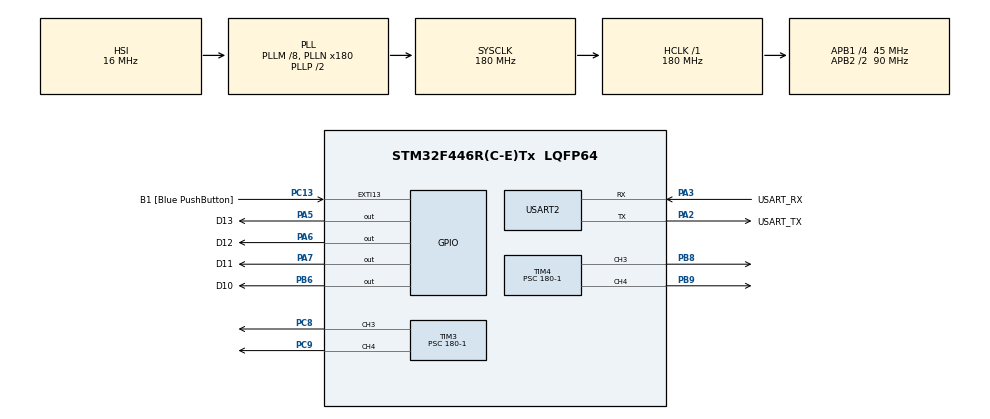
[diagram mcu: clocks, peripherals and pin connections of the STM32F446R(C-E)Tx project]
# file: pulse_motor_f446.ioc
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Mcu.Family=STM32F4
Mcu.Name=STM32F446R(C-E)Tx
Mcu.Package=LQFP64
NVIC.PriorityGroup=NVIC_PRIORITYGROUP_0
PA13.GPIO_Label=TMS
PA13.Mode=Serial_Wire
PA13.Signal=SYS_JTMS-SWDIO
PA14.GPIO_Label=TCK
PA14.Mode=Serial_Wire
PA14.Signal=SYS_JTCK-SWCLK
PA2.GPIO_Label=USART_TX
PA2.Mode=Asynchronous
PA2.Signal=USART2_TX
PA3.GPIO_Label=USART_RX
PA3.Mode=Asynchronous
PA3.Signal=USART2_RX
PA5.GPIO_Label=D13
PA5.Signal=GPIO_Output
PA6.GPIO_Label=D12
PA6.Signal=GPIO_Output
PA7.GPIO_Label=D11
PA7.Signal=GPIO_Output
PB3.GPIO_Label=SWO
PB3.Signal=SYS_JTDO-SWO
PB6.GPIO_Label=D10
PB6.Signal=GPIO_Output
PB8.Signal=S_TIM4_CH3
PB9.Signal=S_TIM4_CH4
PC13.GPIO_Label=B1 [Blue PushButton]
PC13.GPIO_ModeDefaultEXTI=GPIO_MODE_IT_FALLING
PC13.Signal=GPXTI13
PC14-OSC32_IN.Mode=LSE-External-Oscillator
PC14-OSC32_IN.Signal=RCC_OSC32_IN
PC15-OSC32_OUT.Mode=LSE-External-Oscillator
PC15-OSC32_OUT.Signal=RCC_OSC32_OUT
PC8.Signal=S_TIM3_CH3
PC9.Signal=S_TIM3_CH4
PH0-OSC_IN.Mode=HSE-External-Oscillator
PH0-OSC_IN.Signal=RCC_OSC_IN
PH1-OSC_OUT.Mode=HSE-External-Oscillator
PH1-OSC_OUT.Signal=RCC_OSC_OUT
ProjectManager.HeapSize=0x200
ProjectManager.StackSize=0x400
ProjectManager.TargetToolchain=TrueSTUDIO
RCC.48MHZClocksFreq_Value=84000000
RCC.AHBFreq_Value=180000000
RCC.APB1CLKDivider=RCC_HCLK_DIV4
RCC.APB1Freq_Value=45000000
RCC.APB1TimFreq_Value=90000000
RCC.APB2CLKDivider=RCC_HCLK_DIV2
RCC.APB2Freq_Value=90000000
RCC.APB2TimFreq_Value=180000000
RCC.CortexFreq_Value=180000000
RCC.FLatency-AdvancedSettings=FLASH_LATENCY_5
RCC.HCLKFreq_Value=180000000
RCC.HSE_VALUE=8000000
RCC.HSI_VALUE=16000000
RCC.PLLM=8
RCC.PLLN=180
RCC.SYSCLKFreq_VALUE=180000000
RCC.SYSCLKSource=RCC_SYSCLKSOURCE_PLLCLK
RCC.USBFreq_Value=180000000
RCC.VCOOutputFreq_Value=360000000
SH.S_TIM3_CH3.0=TIM3_CH3,PWM Generation3 CH3
SH.S_TIM3_CH4.0=TIM3_CH4,PWM Generation4 CH4
SH.S_TIM4_CH3.0=TIM4_CH3,PWM Generation3 CH3
SH.S_TIM4_CH4.0=TIM4_CH4,PWM Generation4 CH4
TIM3.AutoReloadPreload=TIM_AUTORELOAD_PRELOAD_ENABLE
TIM3.Channel-PWM\ Generation3\ CH3=TIM_CHANNEL_3
TIM3.Channel-PWM\ Generation4\ CH4=TIM_CHANNEL_4
TIM3.OCPolarity_3=TIM_OCPOLARITY_LOW
TIM3.OCPolarity_4=TIM_OCPOLARITY_LOW
TIM3.Period=100-1
TIM3.Prescaler=180-1
TIM3.Pulse-PWM\ Generation3\ CH3=0
TIM4.AutoReloadPreload=TIM_AUTORELOAD_PRELOAD_ENABLE
TIM4.Channel-PWM\ Generation3\ CH3=TIM_CHANNEL_3
TIM4.Channel-PWM\ Generation4\ CH4=TIM_CHANNEL_4
TIM4.OCPolarity_3=TIM_OCPOLARITY_LOW
TIM4.OCPolarity_4=TIM_OCPOLARITY_LOW
TIM4.Period=100-1
TIM4.Prescaler=180-1
TIM4.Pulse-PWM\ Generation3\ CH3=0
USART2.VirtualMode=VM_ASYNC
board=NUCLEO-F446RE

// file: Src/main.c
/* USER CODE BEGIN Header */
/**
  ******************************************************************************
  * @file           : main.c
  * @brief          : Main program body
  ******************************************************************************
  * @attention
  *
  * <h2><center>&copy; Copyright (c) 2022 STMicroelectronics.
  * All rights reserved.</center></h2>
  *
  * This software component is licensed by ST under BSD 3-Clause license,
  * the "License"; You may not use this file except in compliance with the
  * License. You may obtain a copy of the License at:
  *                        opensource.org/licenses/BSD-3-Clause
  *
  ******************************************************************************
  */
/* USER CODE END Header */

#include "main.h"
#include "tim.h"
#include "usart.h"
#include "gpio.h"

/* USER CODE BEGIN Includes */
#include "lv_fw_common_utility.h"
/* USER CODE END Includes */

void SystemClock_Config(void);

int main(void)
{

  /* MCU Configuration--------------------------------------------------------*/

  /* Reset of all peripherals, Initializes the Flash interface and the Systick. */
  HAL_Init();

  /* Configure the system clock */
  SystemClock_Config();

  /* Initialize all configured peripherals */
  MX_GPIO_Init();
  MX_USART2_UART_Init();
  MX_TIM3_Init();
  MX_TIM4_Init();
  /* USER CODE BEGIN 2 */
  HAL_TIM_PWM_Start(&htim3, TIM_CHANNEL_3);
  HAL_TIM_PWM_Start(&htim3, TIM_CHANNEL_4);
  HAL_TIM_PWM_Start(&htim4, TIM_CHANNEL_3);
  HAL_TIM_PWM_Start(&htim4, TIM_CHANNEL_4);
#define DUTY 40
  /* USER CODE END 2 */

  /* Infinite loop */
  /* USER CODE BEGIN WHILE */
//#define UNIPOL1
//#define BIPOL1
#define BIPOL2

#ifdef UNIPOL1
#define UNI_POL
#define PULSE_CNT      300  // 256=45度、300=54度、512=90度、768=135度、1024=180度
#define DELTA_FPS      2
#define MIN_FPS        500
#define MAX_FPS        800
#endif

#ifdef BIPOL1
#undef UNI_POL
#define PULSE_CNT      315  // 315=180度
#define DELTA_FPS      5
#define MIN_FPS        500
#define MAX_FPS        1200
#endif

#ifdef BIPOL2
#undef UNI_POL
#define PULSE_CNT      500  // 500=180度
#define DELTA_FPS      5
#define MIN_FPS        500
#define MAX_FPS        1200
#endif
  #define MAX_FPS_OFFSET (MAX_FPS-MIN_FPS)
  uint32_t counter = 0;
  uint32_t fps_offset = 0;
  while (1)
  {
    /* USER CODE END WHILE */

    /* USER CODE BEGIN 3 */

    if (HAL_GPIO_ReadPin(B1_GPIO_Port, B1_Pin) == GPIO_PIN_RESET) {
      lv_fw_common_sync_fps(MIN_FPS + fps_offset);
    } else {
      lv_fw_common_sync_fps(MIN_FPS);
    }
//    HAL_Delay(1);  // 1で2ms=500Hz, 2で3ms=333Hz 周期

    uint16_t phase = counter % PULSE_CNT;
    uint8_t up_down = (counter / PULSE_CNT) % 2;

#ifdef UNI_POL // Uni-Poler Stepping Motor
    switch ((up_down * 4) + (phase & 0x03)) {
      case 0:
      case 7:
        HAL_GPIO_WritePin(D10_GPIO_Port, D10_Pin, GPIO_PIN_SET);
        HAL_GPIO_WritePin(D11_GPIO_Port, D11_Pin, GPIO_PIN_SET);
        HAL_GPIO_WritePin(D12_GPIO_Port, D12_Pin, GPIO_PIN_RESET);
        HAL_GPIO_WritePin(D13_GPIO_Port, D13_Pin, GPIO_PIN_RESET);
        break;
      case 1:
      case 6:
        HAL_GPIO_WritePin(D10_GPIO_Port, D10_Pin, GPIO_PIN_RESET);
        HAL_GPIO_WritePin(D11_GPIO_Port, D11_Pin, GPIO_PIN_SET);
        HAL_GPIO_WritePin(D12_GPIO_Port, D12_Pin, GPIO_PIN_SET);
        HAL_GPIO_WritePin(D13_GPIO_Port, D13_Pin, GPIO_PIN_RESET);
        break;
      case 2:
      case 5:
        HAL_GPIO_WritePin(D10_GPIO_Port, D10_Pin, GPIO_PIN_RESET);
        HAL_GPIO_WritePin(D11_GPIO_Port, D11_Pin, GPIO_PIN_RESET);
        HAL_GPIO_WritePin(D12_GPIO_Port, D12_Pin, GPIO_PIN_SET);
        HAL_GPIO_WritePin(D13_GPIO_Port, D13_Pin, GPIO_PIN_SET);
        break;
      case 3:
      case 4:
        HAL_GPIO_WritePin(D10_GPIO_Port, D10_Pin, GPIO_PIN_SET);
        HAL_GPIO_WritePin(D11_GPIO_Port, D11_Pin, GPIO_PIN_RESET);
        HAL_GPIO_WritePin(D12_GPIO_Port, D12_Pin, GPIO_PIN_RESET);
        HAL_GPIO_WritePin(D13_GPIO_Port, D13_Pin, GPIO_PIN_SET);
        break;
    }
#elif 0 // Bi-Poler Stepping Motor with PWM
    switch ((up_down * 4) + (phase & 0x03)) {
      case 0:
      case 7:
        __HAL_TIM_SET_COMPARE(&htim3, TIM_CHANNEL_3, DUTY);
        __HAL_TIM_SET_COMPARE(&htim3, TIM_CHANNEL_4, 0);
        __HAL_TIM_SET_COMPARE(&htim4, TIM_CHANNEL_3, DUTY);
        __HAL_TIM_SET_COMPARE(&htim4, TIM_CHANNEL_4, 0);
        break;
      case 1:
      case 6:
        __HAL_TIM_SET_COMPARE(&htim3, TIM_CHANNEL_3, 0);
        __HAL_TIM_SET_COMPARE(&htim3, TIM_CHANNEL_4, DUTY);
        __HAL_TIM_SET_COMPARE(&htim4, TIM_CHANNEL_3, DUTY);
        __HAL_TIM_SET_COMPARE(&htim4, TIM_CHANNEL_4, 0);
        break;
      case 2:
      case 5:
        __HAL_TIM_SET_COMPARE(&htim3, TIM_CHANNEL_3, 0);
        __HAL_TIM_SET_COMPARE(&htim3, TIM_CHANNEL_4, DUTY);
        __HAL_TIM_SET_COMPARE(&htim4, TIM_CHANNEL_3, 0);
        __HAL_TIM_SET_COMPARE(&htim4, TIM_CHANNEL_4, DUTY);
        break;
      case 3:
      case 4:
        __HAL_TIM_SET_COMPARE(&htim3, TIM_CHANNEL_3, DUTY);
        __HAL_TIM_SET_COMPARE(&htim3, TIM_CHANNEL_4, 0);
        __HAL_TIM_SET_COMPARE(&htim4, TIM_CHANNEL_3, 0);
        __HAL_TIM_SET_COMPARE(&htim4, TIM_CHANNEL_4, DUTY);
        break;
    }
#else // RC Servo PWM 20ms 1500us+-500us
    uint16_t us=1500;
    switch ((up_down * 4) + (phase & 0x03)) {
      case 0:
      case 1:
      case 2:
      case 3:
        us=1000;
        break;
      case 4:
      case 5:
      case 6:
      case 7:
        us=2000;
        break;
    }
    if (HAL_GPIO_ReadPin(B1_GPIO_Port, B1_Pin) == GPIO_PIN_RESET) {
      us=1500;
    }
    __HAL_TIM_SET_COMPARE(&htim3, TIM_CHANNEL_3, us);
    __HAL_TIM_SET_COMPARE(&htim3, TIM_CHANNEL_4, us);
    __HAL_TIM_SET_COMPARE(&htim4, TIM_CHANNEL_3, us);
    __HAL_TIM_SET_COMPARE(&htim4, TIM_CHANNEL_4, us);
#endif
    if(phase >= PULSE_CNT/2) {
      phase = PULSE_CNT - phase - 1;    // 残パルス数
    }
    fps_offset = ((phase * DELTA_FPS) < MAX_FPS_OFFSET) ? (phase * DELTA_FPS) : MAX_FPS_OFFSET;
    counter ++;
  }
  /* USER CODE END 3 */
}

void SystemClock_Config(void)
{
  RCC_OscInitTypeDef RCC_OscInitStruct = {0};
  RCC_ClkInitTypeDef RCC_ClkInitStruct = {0};

  /** Configure the main internal regulator output voltage
  */
  __HAL_RCC_PWR_CLK_ENABLE();
  __HAL_PWR_VOLTAGESCALING_CONFIG(PWR_REGULATOR_VOLTAGE_SCALE1);
  /** Initializes the CPU, AHB and APB busses clocks
  */
  RCC_OscInitStruct.OscillatorType = RCC_OSCILLATORTYPE_HSI;
  RCC_OscInitStruct.HSIState = RCC_HSI_ON;
  RCC_OscInitStruct.HSICalibrationValue = RCC_HSICALIBRATION_DEFAULT;
  RCC_OscInitStruct.PLL.PLLState = RCC_PLL_ON;
  RCC_OscInitStruct.PLL.PLLSource = RCC_PLLSOURCE_HSI;
  RCC_OscInitStruct.PLL.PLLM = 8;
  RCC_OscInitStruct.PLL.PLLN = 180;
  RCC_OscInitStruct.PLL.PLLP = RCC_PLLP_DIV2;
  RCC_OscInitStruct.PLL.PLLQ = 2;
  RCC_OscInitStruct.PLL.PLLR = 2;
  if (HAL_RCC_OscConfig(&RCC_OscInitStruct) != HAL_OK)
  {
    Error_Handler();
  }
  /** Activate the Over-Drive mode
  */
  if (HAL_PWREx_EnableOverDrive() != HAL_OK)
  {
    Error_Handler();
  }
  /** Initializes the CPU, AHB and APB busses clocks
  */
  RCC_ClkInitStruct.ClockType = RCC_CLOCKTYPE_HCLK|RCC_CLOCKTYPE_SYSCLK
                              |RCC_CLOCKTYPE_PCLK1|RCC_CLOCKTYPE_PCLK2;
  RCC_ClkInitStruct.SYSCLKSource = RCC_SYSCLKSOURCE_PLLCLK;
  RCC_ClkInitStruct.AHBCLKDivider = RCC_SYSCLK_DIV1;
  RCC_ClkInitStruct.APB1CLKDivider = RCC_HCLK_DIV4;
  RCC_ClkInitStruct.APB2CLKDivider = RCC_HCLK_DIV2;

  if (HAL_RCC_ClockConfig(&RCC_ClkInitStruct, FLASH_LATENCY_5) != HAL_OK)
  {
    Error_Handler();
  }
}

void Error_Handler(void)
{
}

/************************ (C) COPYRIGHT STMicroelectronics *****END OF FILE****/
